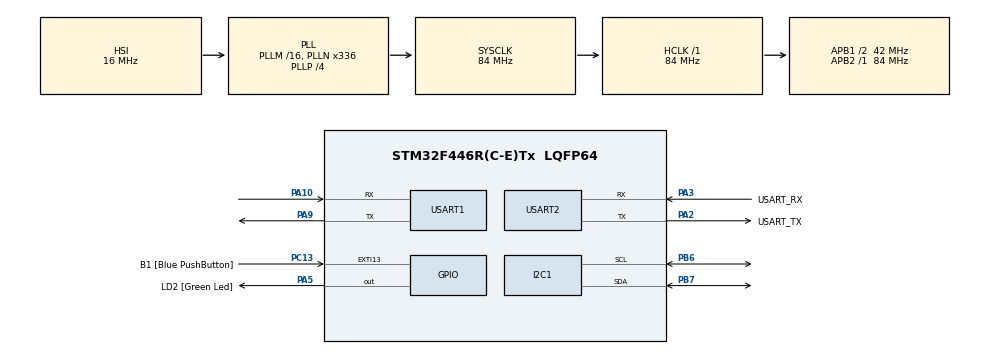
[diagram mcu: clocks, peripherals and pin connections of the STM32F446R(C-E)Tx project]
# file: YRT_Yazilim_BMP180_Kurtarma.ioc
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FREERTOS.Tasks01=defaultTask,24,128,bmp180_data,Default,NULL,Dynamic,NULL,NULL;myTask02,16,128,kurtarma,Default,NULL,Dynamic,NULL,NULL
Mcu.Family=STM32F4
Mcu.Name=STM32F446R(C-E)Tx
Mcu.Package=LQFP64
NVIC.PriorityGroup=NVIC_PRIORITYGROUP_4
NVIC.TIM6_DAC_IRQn=true\:15\:0\:false\:false\:true\:false\:false\:true\:true
NVIC.TimeBase=TIM6_DAC_IRQn
NVIC.TimeBaseIP=TIM6
PA10.Mode=Asynchronous
PA10.Signal=USART1_RX
PA13.GPIO_Label=TMS
PA13.Mode=Serial_Wire
PA13.Signal=SYS_JTMS-SWDIO
PA14.GPIO_Label=TCK
PA14.Mode=Serial_Wire
PA14.Signal=SYS_JTCK-SWCLK
PA2.GPIO_Label=USART_TX
PA2.Mode=Asynchronous
PA2.Signal=USART2_TX
PA3.GPIO_Label=USART_RX
PA3.Mode=Asynchronous
PA3.Signal=USART2_RX
PA5.GPIO_Label=LD2 [Green Led]
PA5.Signal=GPIO_Output
PA9.Mode=Asynchronous
PA9.Signal=USART1_TX
PB3.GPIO_Label=SWO
PB3.Signal=SYS_JTDO-SWO
PB6.Mode=I2C
PB6.Signal=I2C1_SCL
PB7.Mode=I2C
PB7.Signal=I2C1_SDA
PC13.GPIO_Label=B1 [Blue PushButton]
PC13.GPIO_ModeDefaultEXTI=GPIO_MODE_IT_FALLING
PC13.Signal=GPXTI13
PC14-OSC32_IN.Mode=LSE-External-Oscillator
PC14-OSC32_IN.Signal=RCC_OSC32_IN
PC15-OSC32_OUT.Mode=LSE-External-Oscillator
PC15-OSC32_OUT.Signal=RCC_OSC32_OUT
PH0-OSC_IN.Mode=HSE-External-Oscillator
PH0-OSC_IN.Signal=RCC_OSC_IN
PH1-OSC_OUT.Mode=HSE-External-Oscillator
PH1-OSC_OUT.Signal=RCC_OSC_OUT
ProjectManager.HeapSize=0x200
ProjectManager.StackSize=0x400
ProjectManager.TargetToolchain=STM32CubeIDE
RCC.48MHZClocksFreq_Value=84000000
RCC.AHBFreq_Value=84000000
RCC.APB1CLKDivider=RCC_HCLK_DIV2
RCC.APB1Freq_Value=42000000
RCC.APB1TimFreq_Value=84000000
RCC.APB2Freq_Value=84000000
RCC.APB2TimFreq_Value=84000000
RCC.CortexFreq_Value=84000000
RCC.FLatency-AdvancedSettings=FLASH_LATENCY_2
RCC.HCLKFreq_Value=84000000
RCC.HSE_VALUE=8000000
RCC.HSI_VALUE=16000000
RCC.PLLN=336
RCC.PLLP=RCC_PLLP_DIV4
RCC.SYSCLKFreq_VALUE=84000000
RCC.SYSCLKSource=RCC_SYSCLKSOURCE_PLLCLK
RCC.USBFreq_Value=168000000
RCC.VCOOutputFreq_Value=336000000
USART1.VirtualMode=VM_ASYNC
USART2.VirtualMode=VM_ASYNC
VP_FREERTOS_VS_CMSIS_V2.Mode=CMSIS_V2
VP_SYS_VS_tim6.Mode=TIM6
board=NUCLEO-F446RE

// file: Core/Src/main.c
/* USER CODE BEGIN Header */
/**
 ******************************************************************************
 * @file           : main.c
 * @brief          : Main program body
 ******************************************************************************
 * @attention
 *
 * <h2><center>&copy; Copyright (c) 2020 STMicroelectronics.
 * All rights reserved.</center></h2>
 *
 * This software component is licensed by ST under BSD 3-Clause license,
 * the "License"; You may not use this file except in compliance with the
 * License. You may obtain a copy of the License at:
 *                        opensource.org/licenses/BSD-3-Clause
 *
 ******************************************************************************
 * Minimal setup:
 *                                           _________
 *                                  VDD 1 --|      O  |
 *                                  GND 2 --|      _  |
 *                                 SCL1 3 --|     |_| |
 *                                 SDA1 4 --|_________|
 *
 *			Refer to datasheets for further information.
 *
*/
/* USER CODE END Header */
#include "main.h"
#include "cmsis_os.h"
#include "i2c.h"
#include "usart.h"
#include "gpio.h"

/* USER CODE BEGIN Includes */
#include "bmp180_for_stm32_hal.h"
#include "stdio.h"
#include "stdlib.h"
#include "string.h"
/* USER CODE END Includes */

void SystemClock_Config(void);
void MX_FREERTOS_Init(void);

int main(void)
{

  /* MCU Configuration--------------------------------------------------------*/

  /* Reset of all peripherals, Initializes the Flash interface and the Systick. */
  HAL_Init();

  /* Configure the system clock */
  SystemClock_Config();

  /* Initialize all configured peripherals */
  MX_GPIO_Init();
  MX_USART2_UART_Init();
  MX_I2C1_Init();
  MX_USART1_UART_Init();
  /* USER CODE BEGIN 2 */
	/* Initializes BMP180 sensor and oversampling settings. */
	BMP180_Init(&hi2c1);
	BMP180_SetOversampling(BMP180_ULTRA);
	/* Update calibration data. Must be called once before entering main loop. */
	BMP180_UpdateCalibrationData();
  /* USER CODE END 2 */

  /* Init scheduler */
  osKernelInitialize();

  /* Call init function for freertos objects (in freertos.c) */
  MX_FREERTOS_Init();

  /* Start scheduler */
  osKernelStart();

  /* We should never get here as control is now taken by the scheduler */
  /* Infinite loop */
  while (1)
  {

	}
}

void SystemClock_Config(void)
{
  RCC_OscInitTypeDef RCC_OscInitStruct = {0};
  RCC_ClkInitTypeDef RCC_ClkInitStruct = {0};

  /** Configure the main internal regulator output voltage
  */
  __HAL_RCC_PWR_CLK_ENABLE();
  __HAL_PWR_VOLTAGESCALING_CONFIG(PWR_REGULATOR_VOLTAGE_SCALE3);

  /** Initializes the RCC Oscillators according to the specified parameters
  * in the RCC_OscInitTypeDef structure.
  */
  RCC_OscInitStruct.OscillatorType = RCC_OSCILLATORTYPE_HSI;
  RCC_OscInitStruct.HSIState = RCC_HSI_ON;
  RCC_OscInitStruct.HSICalibrationValue = RCC_HSICALIBRATION_DEFAULT;
  RCC_OscInitStruct.PLL.PLLState = RCC_PLL_ON;
  RCC_OscInitStruct.PLL.PLLSource = RCC_PLLSOURCE_HSI;
  RCC_OscInitStruct.PLL.PLLM = 16;
  RCC_OscInitStruct.PLL.PLLN = 336;
  RCC_OscInitStruct.PLL.PLLP = RCC_PLLP_DIV4;
  RCC_OscInitStruct.PLL.PLLQ = 2;
  RCC_OscInitStruct.PLL.PLLR = 2;
  if (HAL_RCC_OscConfig(&RCC_OscInitStruct) != HAL_OK)
  {
    Error_Handler();
  }

  /** Initializes the CPU, AHB and APB buses clocks
  */
  RCC_ClkInitStruct.ClockType = RCC_CLOCKTYPE_HCLK|RCC_CLOCKTYPE_SYSCLK
                              |RCC_CLOCKTYPE_PCLK1|RCC_CLOCKTYPE_PCLK2;
  RCC_ClkInitStruct.SYSCLKSource = RCC_SYSCLKSOURCE_PLLCLK;
  RCC_ClkInitStruct.AHBCLKDivider = RCC_SYSCLK_DIV1;
  RCC_ClkInitStruct.APB1CLKDivider = RCC_HCLK_DIV2;
  RCC_ClkInitStruct.APB2CLKDivider = RCC_HCLK_DIV1;

  if (HAL_RCC_ClockConfig(&RCC_ClkInitStruct, FLASH_LATENCY_2) != HAL_OK)
  {
    Error_Handler();
  }
}

void HAL_TIM_PeriodElapsedCallback(TIM_HandleTypeDef *htim)
{
  if (htim->Instance == TIM6) {
    HAL_IncTick();
  }
}

void Error_Handler(void)
{
}

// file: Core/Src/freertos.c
/* USER CODE BEGIN Header */
/**
  ******************************************************************************
  * File Name          : freertos.c
  * Description        : Code for freertos applications
  ******************************************************************************
  * @attention
  *
  * Copyright (c) 2024 STMicroelectronics.
  * All rights reserved.
  *
  * This software is licensed under terms that can be found in the LICENSE file
  * in the root directory of this software component.
  * If no LICENSE file comes with this software, it is provided AS-IS.
  *
  ******************************************************************************
  */
/* USER CODE END Header */

#include "FreeRTOS.h"
#include "task.h"
#include "main.h"
#include "cmsis_os.h"

/* USER CODE BEGIN Includes */
#include "usart.h"
/* USER CODE END Includes */

/* Definitions for defaultTask */
osThreadId_t defaultTaskHandle;
const osThreadAttr_t defaultTask_attributes = {
  .name = "defaultTask",
  .stack_size = 128 * 4,
  .priority = (osPriority_t) osPriorityNormal,
};
/* Definitions for myTask02 */
osThreadId_t myTask02Handle;
const osThreadAttr_t myTask02_attributes = {
  .name = "myTask02",
  .stack_size = 128 * 4,
  .priority = (osPriority_t) osPriorityBelowNormal,
};

void bmp180_data(void *argument);
void kurtarma(void *argument);

void MX_FREERTOS_Init(void); /* (MISRA C 2004 rule 8.1) */

void MX_FREERTOS_Init(void) {

  /* Create the thread(s) */
  /* creation of defaultTask */
  defaultTaskHandle = osThreadNew(bmp180_data, NULL, &defaultTask_attributes);

  /* creation of myTask02 */
  myTask02Handle = osThreadNew(kurtarma, NULL, &myTask02_attributes);

}

void bmp180_data(void *argument)
{
  /* USER CODE BEGIN bmp180_data */
	char buffer[100];
	int32_t temperature ;

		int32_t pressure ;
  /* Infinite loop */
  for(;;)
  {
	  float press, r, c;
	  static float altitude_m;
		temperature =  BMP180_GetRawTemperature();
		pressure = BMP180_GetPressure();

			sprintf(buffer, "Temperature: %d.%d deg C\nPressure: %d Pa\n", (int) temperature / 10, (int) temperature % 10, (int) pressure);
			HAL_UART_Transmit(&huart1, buffer, strlen(buffer), 1000);
			altitude_m = (1 - pow(r, c)) * 44330.77;

    osDelay(10);
  }
  /* USER CODE END bmp180_data */
}

void kurtarma(void *argument)
{
  for(;;)
  {
    osDelay(1);
  }
}
